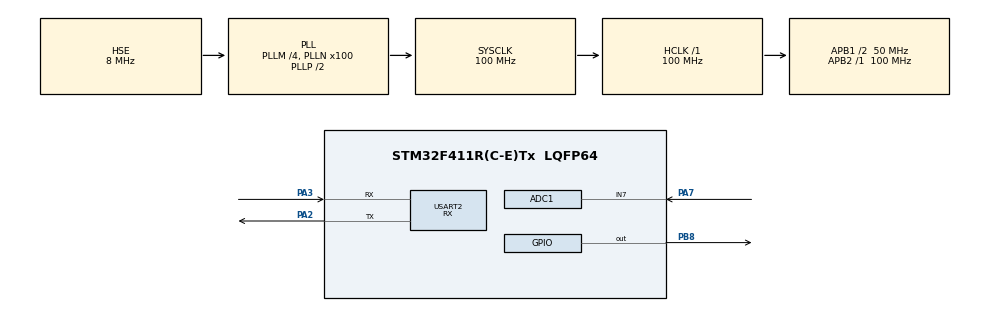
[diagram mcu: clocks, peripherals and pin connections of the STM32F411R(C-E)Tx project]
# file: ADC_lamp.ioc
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ADC1.Channel-0\#ChannelRegularConversion=ADC_CHANNEL_7
ADC1.ContinuousConvMode=ENABLE
ADC1.DMAContinuousRequests=ENABLE
ADC1.InjNumberOfConversion=0
ADC1.NbrOfConversion=1
ADC1.NbrOfConversionFlag=1
ADC1.Rank-0\#ChannelRegularConversion=1
ADC1.Resolution=ADC_RESOLUTION_8B
ADC1.SamplingTime-0\#ChannelRegularConversion=ADC_SAMPLETIME_56CYCLES
ADC1.ScanConvMode=ENABLE
ADC1.master=1
Dma.ADC1.0.Direction=DMA_PERIPH_TO_MEMORY
Dma.ADC1.0.FIFOMode=DMA_FIFOMODE_DISABLE
Dma.ADC1.0.Instance=DMA2_Stream0
Dma.ADC1.0.MemDataAlignment=DMA_MDATAALIGN_HALFWORD
Dma.ADC1.0.MemInc=DMA_MINC_ENABLE
Dma.ADC1.0.Mode=DMA_CIRCULAR
Dma.ADC1.0.PeriphDataAlignment=DMA_PDATAALIGN_HALFWORD
Dma.ADC1.0.PeriphInc=DMA_PINC_DISABLE
Dma.ADC1.0.Priority=DMA_PRIORITY_LOW
Dma.Request0=ADC1
Mcu.Family=STM32F4
Mcu.Name=STM32F411R(C-E)Tx
Mcu.Package=LQFP64
NVIC.DMA2_Stream0_IRQn=true\:0\:0\:false\:false\:true\:false\:true\:true
NVIC.PriorityGroup=NVIC_PRIORITYGROUP_4
NVIC.USART2_IRQn=true\:0\:0\:false\:false\:true\:true\:true\:true
PA13.Mode=Serial_Wire
PA13.Signal=SYS_JTMS-SWDIO
PA14.Mode=Serial_Wire
PA14.Signal=SYS_JTCK-SWCLK
PA2.Mode=Asynchronous
PA2.Signal=USART2_TX
PA3.Mode=Asynchronous
PA3.Signal=USART2_RX
PA7.Signal=ADCx_IN7
PB8.Signal=GPIO_Output
PH0\ -\ OSC_IN.Mode=HSE-External-Oscillator
PH0\ -\ OSC_IN.Signal=RCC_OSC_IN
PH1\ -\ OSC_OUT.Mode=HSE-External-Oscillator
PH1\ -\ OSC_OUT.Signal=RCC_OSC_OUT
ProjectManager.HeapSize=0x200
ProjectManager.StackSize=0x400
ProjectManager.TargetToolchain=STM32CubeIDE
RCC.48MHZClocksFreq_Value=50000000
RCC.AHBFreq_Value=100000000
RCC.APB1CLKDivider=RCC_HCLK_DIV2
RCC.APB1Freq_Value=50000000
RCC.APB1TimFreq_Value=100000000
RCC.APB2Freq_Value=100000000
RCC.APB2TimFreq_Value=100000000
RCC.CortexFreq_Value=100000000
RCC.HCLKFreq_Value=100000000
RCC.HSE_VALUE=8000000
RCC.HSI_VALUE=16000000
RCC.LSE_VALUE=32768
RCC.PLLM=4
RCC.PLLN=100
RCC.PLLSourceVirtual=RCC_PLLSOURCE_HSE
RCC.SYSCLKFreq_VALUE=100000000
RCC.SYSCLKSource=RCC_SYSCLKSOURCE_PLLCLK
RCC.VCOOutputFreq_Value=200000000
SH.ADCx_IN7.0=ADC1_IN7,IN7
USART2.Mode=MODE_RX
USART2.VirtualMode=VM_ASYNC
board=custom

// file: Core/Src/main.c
/* USER CODE BEGIN Header */
/**
  ******************************************************************************
  * @file           : main.c
  * @brief          : Main program body
  ******************************************************************************
  * @attention
  *
  * Copyright (c) 2023 STMicroelectronics.
  * All rights reserved.
  *
  * This software is licensed under terms that can be found in the LICENSE file
  * in the root directory of this software component.
  * If no LICENSE file comes with this software, it is provided AS-IS.
  *
  ******************************************************************************
  */
/* USER CODE END Header */
#include "main.h"
#include "adc.h"
#include "dma.h"
#include "usart.h"
#include "gpio.h"

/* USER CODE BEGIN PV */
uint8_t rxData;
uint8_t rxBuffer[5];
uint8_t buffer_idx = 0;

uint16_t threshold = 256;

uint32_t ADC_val;
/* USER CODE END PV */

void SystemClock_Config(void);
/* USER CODE BEGIN PFP */
void HAL_UART_RxCpltCallback(UART_HandleTypeDef *);
/* USER CODE END PFP */

int main(void)
{

  /* MCU Configuration--------------------------------------------------------*/

  /* Reset of all peripherals, Initializes the Flash interface and the Systick. */
  HAL_Init();

  /* Configure the system clock */
  SystemClock_Config();

  /* Initialize all configured peripherals */
  MX_GPIO_Init();
  MX_DMA_Init();
  MX_ADC1_Init();
  MX_USART2_UART_Init();
  /* USER CODE BEGIN 2 */
  HAL_UART_Receive_IT(&huart2, &rxData, sizeof(rxData));

  HAL_ADC_Start_DMA(&hadc1, &ADC_val, 1);
  /* USER CODE END 2 */

  /* Infinite loop */
  while (1)
  {

    /* USER CODE BEGIN 3 */
    if (ADC_val < threshold) {
        HAL_GPIO_WritePin(GPIOB, GPIO_PIN_8, GPIO_PIN_SET);
    }
    else {
        HAL_GPIO_WritePin(GPIOB, GPIO_PIN_8, GPIO_PIN_RESET);
    }
  }
  /* USER CODE END 3 */
}

void SystemClock_Config(void)
{
  RCC_OscInitTypeDef RCC_OscInitStruct = {0};
  RCC_ClkInitTypeDef RCC_ClkInitStruct = {0};

  /** Configure the main internal regulator output voltage
  */
  __HAL_RCC_PWR_CLK_ENABLE();
  __HAL_PWR_VOLTAGESCALING_CONFIG(PWR_REGULATOR_VOLTAGE_SCALE1);

  /** Initializes the RCC Oscillators according to the specified parameters
  * in the RCC_OscInitTypeDef structure.
  */
  RCC_OscInitStruct.OscillatorType = RCC_OSCILLATORTYPE_HSE;
  RCC_OscInitStruct.HSEState = RCC_HSE_ON;
  RCC_OscInitStruct.PLL.PLLState = RCC_PLL_ON;
  RCC_OscInitStruct.PLL.PLLSource = RCC_PLLSOURCE_HSE;
  RCC_OscInitStruct.PLL.PLLM = 4;
  RCC_OscInitStruct.PLL.PLLN = 100;
  RCC_OscInitStruct.PLL.PLLP = RCC_PLLP_DIV2;
  RCC_OscInitStruct.PLL.PLLQ = 4;
  if (HAL_RCC_OscConfig(&RCC_OscInitStruct) != HAL_OK)
  {
    Error_Handler();
  }

  /** Initializes the CPU, AHB and APB buses clocks
  */
  RCC_ClkInitStruct.ClockType = RCC_CLOCKTYPE_HCLK|RCC_CLOCKTYPE_SYSCLK
                              |RCC_CLOCKTYPE_PCLK1|RCC_CLOCKTYPE_PCLK2;
  RCC_ClkInitStruct.SYSCLKSource = RCC_SYSCLKSOURCE_PLLCLK;
  RCC_ClkInitStruct.AHBCLKDivider = RCC_SYSCLK_DIV1;
  RCC_ClkInitStruct.APB1CLKDivider = RCC_HCLK_DIV2;
  RCC_ClkInitStruct.APB2CLKDivider = RCC_HCLK_DIV1;

  if (HAL_RCC_ClockConfig(&RCC_ClkInitStruct, FLASH_LATENCY_3) != HAL_OK)
  {
    Error_Handler();
  }
}

/* USER CODE BEGIN 4 */
void HAL_UART_RxCpltCallback(UART_HandleTypeDef *huart) {
    if (huart->Instance == USART2) {
        if (rxData == '\n') {
            rxBuffer[buffer_idx] = '\0';

            threshold = 0;
            for (int8_t i = 0; i < buffer_idx; i++) {
                threshold *= 10;
                threshold += rxBuffer[i] - 48;
            }

            buffer_idx = 0;
        }
        else {
            rxBuffer[buffer_idx++] = rxData;
        }

        HAL_UART_Receive_IT(huart, &rxData, sizeof(rxData));
    }
}
/* USER CODE END 4 */

void Error_Handler(void)
{
  __disable_irq();
  while (1)
  {
  }
}
